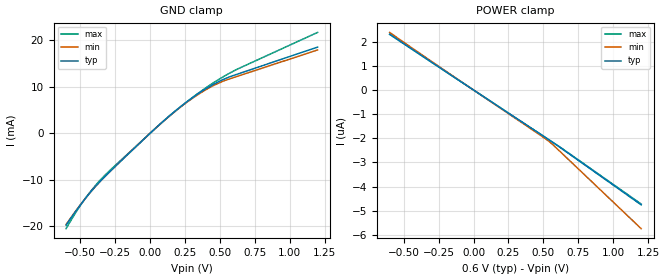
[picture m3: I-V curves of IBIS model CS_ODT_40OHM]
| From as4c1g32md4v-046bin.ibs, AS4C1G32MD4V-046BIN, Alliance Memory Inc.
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|   MODEL: CS_ODT_40OHM
[Model]   CS_ODT_40OHM
Model_type   Input
Vinl   = 0.080V
Vinh   = 0.220V
|   typ   min   max
C_comp   0.564pF   0.508pF   0.620pF
[Voltage Range]   0.600V   0.570V   0.650V
[Temperature Range]   25.0   95.0   -40.0
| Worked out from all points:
|   GND clamp passes 1 mA (typ) near -0.04 V on its own axis
[GND Clamp]
|   Voltage   I(typ)   I(min)   I(max)
-600mV    -19.74mA   -19.58mA   -20.48mA
-530mV    -16.69mA   -16.63mA   -16.97mA
-470mV    -14.29mA   -14.27mA   -14.28mA
-400mV    -11.74mA   -11.75mA   -11.56mA
-340mV    -9.805mA   -9.81mA    -9.535mA
60mV      1.673mA    1.653mA    1.645mA
180mV     4.798mA    4.734mA    4.763mA
300mV     7.584mA    7.46mA     7.629mA
440mV     10.3mA     10.06mA    10.61mA
560mV     12.05mA    11.63mA    12.79mA
1.2V      18.56mA    17.95mA    21.72mA
[POWER Clamp]
|   Voltage   I(typ)   I(min)   I(max)
-600mV    2.308uA    2.386uA    2.308uA
540mV     -2.065uA   -2.13uA    -2.064uA
650mV     -2.505uA   -2.717uA   -2.488uA
1.2V      -4.759uA   -5.745uA   -4.723uA
